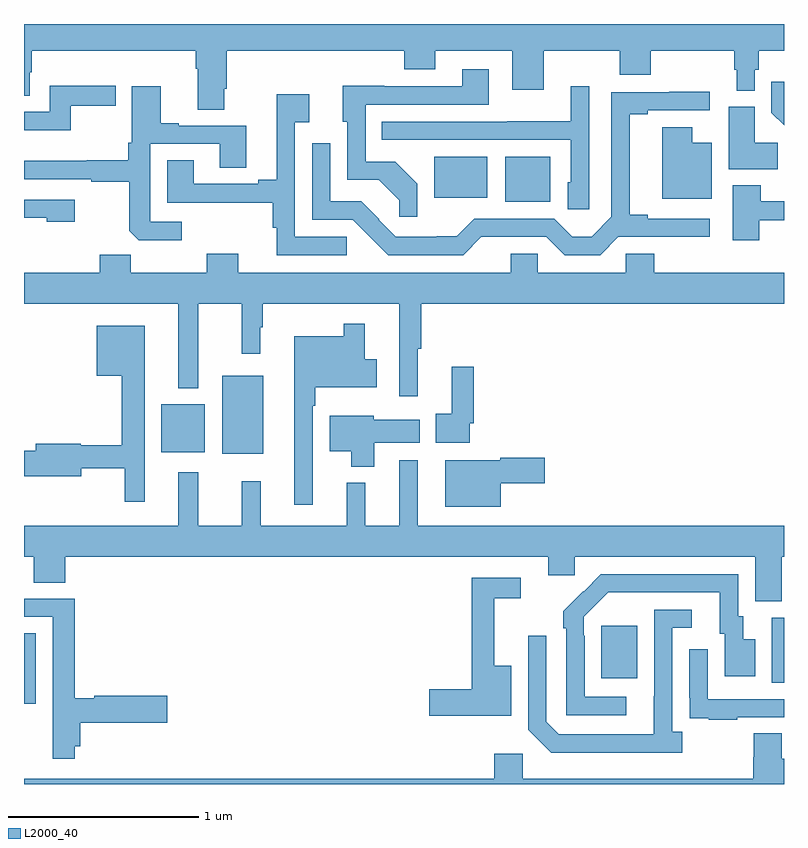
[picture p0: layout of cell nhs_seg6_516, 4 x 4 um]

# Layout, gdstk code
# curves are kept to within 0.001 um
import gdstk
lib = gdstk.Library(unit=1e-6, precision=1e-09)
def R(c, l, rs):  # rectangles x0, y0, x1, y1
    for r in rs: c.add(gdstk.rectangle(r[:2], r[2:], *l))
def P(c, l, *ps):  # polygons
    for p in ps: c.add(gdstk.Polygon(p, *l))
L2000_40 = (2000, 40)

nhs_seg6_516 = lib.new_cell('nhs_seg6_516')
R(nhs_seg6_516, L2000_40, [(143,919.923,143.062,920.293), (146.936,920.032,147,920.376), (146.039,920.057,146.227,920.332), (144.044,921.239,144.259,921.649), (143.723,921.245,143.95,921.499), (145.532,922.565,145.771,922.801), (145.16,922.586,145.438,922.801)])
P(nhs_seg6_516, L2000_40, [(144.055,923.158),(144.068,923.158),(144.068,923.36),(145.001,923.36),(145.001,923.261),(145.165,923.261),(145.165,923.36),(145.571,923.36),(145.571,923.154),(145.735,923.154),(145.735,923.36),(146.135,923.36),(146.135,923.232),(146.299,923.232),(146.299,923.36),(146.739,923.36),(146.739,923.259),(146.75,923.259),(146.75,923.15),(146.847,923.15),(146.847,923.259),(146.867,923.259),(146.867,923.36),(147,923.36),(147,923.5),(143,923.5),(143,923.122),(143.029,923.122),(143.029,923.247),(143.042,923.247),(143.042,923.36),(143.903,923.36),(143.903,923.264),(143.915,923.264),(143.915,923.05),(144.055,923.05)],
  [(145.071,922.66),(144.955,922.776),(144.798,922.776),(144.798,923.076),(145.447,923.076),(145.447,923.263),(145.307,923.263),(145.307,923.172),(144.895,923.172),(144.895,923.174),(144.677,923.174),(144.677,922.986),(144.702,922.986),(144.702,922.68),(144.868,922.68),(144.976,922.572),(144.976,922.485),(145.071,922.485)],
  [(147,923.197),(146.932,923.197),(146.932,923.034),(147,922.966)],
  [(143.245,923.071),(143.482,923.071),(143.482,923.174),(143.136,923.174),(143.136,923.037),(143,923.037),(143,922.94),(143.245,922.94)],
  [(143.83,922.458),(143.664,922.458),(143.664,922.869),(144.029,922.869),(144.029,922.744),(144.169,922.744),(144.169,922.965),(143.815,922.965),(143.815,922.978),(143.719,922.978),(143.719,923.173),(143.568,923.173),(143.568,922.876),(143.548,922.876),(143.548,922.784),(143.329,922.784),(143.329,922.78),(143,922.78),(143,922.683),(143.353,922.683),(143.353,922.671),(143.553,922.671),(143.553,922.413),(143.605,922.362),(143.83,922.362)],
  [(145.974,923.173),(145.877,923.173),(145.877,922.987),(145.543,922.987),(145.543,922.986),(144.883,922.986),(144.883,922.89),(145.878,922.89),(145.878,922.668),(145.862,922.668),(145.862,922.525),(145.974,922.525)],
  [(145.406,922.379),(145.749,922.38),(145.845,922.284),(146.032,922.284),(146.128,922.38),(146.608,922.379),(146.608,922.476),(146.284,922.476),(146.284,922.496),(146.188,922.496),(146.188,923.026),(146.284,923.026),(146.284,923.046),(146.608,923.046),(146.608,923.144),(146.395,923.144),(146.395,923.142),(146.091,923.142),(146.091,922.485),(145.987,922.381),(145.886,922.381),(145.791,922.476),(145.371,922.476),(145.277,922.382),(145.172,922.382),(145.172,922.38),(144.957,922.38),(144.867,922.47),(144.869,922.472),(144.775,922.566),(144.612,922.566),(144.612,922.873),(144.516,922.873),(144.516,922.47),(144.729,922.47),(144.917,922.284),(145.311,922.284)],
  [(144.699,922.38),(144.426,922.38),(144.426,922.982),(144.502,922.982),(144.502,923.131),(144.329,923.131),(144.329,922.679),(144.233,922.679),(144.233,922.659),(143.893,922.659),(143.893,922.784),(143.753,922.784),(143.753,922.558),(144.31,922.558),(144.31,922.427),(144.329,922.427),(144.329,922.284),(144.699,922.284)],
  [(146.966,922.874),(146.845,922.874),(146.845,923.065),(146.708,923.065),(146.708,922.736),(146.966,922.736)],
  [(146.62,922.876),(146.518,922.876),(146.518,922.957),(146.36,922.957),(146.36,922.58),(146.62,922.58)],
  [(146.869,922.467),(147,922.467),(147,922.567),(146.877,922.567),(146.877,922.651),(146.729,922.651),(146.729,922.362),(146.869,922.362)],
  [(143.266,922.575),(143,922.575),(143,922.479),(143.121,922.479),(143.121,922.46),(143.266,922.46)],
  [(144.127,922.291),(143.963,922.291),(143.963,922.192),(143.563,922.192),(143.563,922.285),(143.399,922.285),(143.399,922.192),(143,922.192),(143,922.028),(143.813,922.028),(143.813,921.584),(143.917,921.584),(143.917,922.028),(144.145,922.028),(144.145,921.765),(144.244,921.765),(144.244,921.905),(144.256,921.905),(144.256,922.028),(144.974,922.028),(144.974,921.823),(144.975,921.823),(144.975,921.54),(145.073,921.54),(145.073,921.792),(145.091,921.792),(145.091,922.028),(147,922.028),(147,922.192),(146.318,922.192),(146.318,922.29),(146.166,922.29),(146.166,922.192),(145.704,922.192),(145.704,922.29),(145.562,922.29),(145.562,922.192),(144.127,922.192)],
  [(144.519,921.491),(144.532,921.491),(144.532,921.587),(144.856,921.587),(144.856,921.735),(144.794,921.735),(144.794,921.922),(144.684,921.922),(144.684,921.856),(144.422,921.856),(144.422,920.97),(144.519,920.97)],
  [(143.635,921.913),(143.384,921.913),(143.384,921.65),(143.514,921.65),(143.514,921.283),(143.298,921.283),(143.298,921.29),(143.063,921.29),(143.063,921.254),(143,921.254),(143,921.119),(143.302,921.119),(143.302,921.162),(143.531,921.162),(143.531,920.985),(143.635,920.985)],
  [(145.347,921.4),(145.367,921.4),(145.367,921.697),(145.25,921.697),(145.25,921.449),(145.168,921.449),(145.168,921.296),(145.347,921.296)],
  [(144.844,921.296),(145.083,921.296),(145.083,921.418),(144.84,921.418),(144.84,921.439),(144.608,921.439),(144.608,921.251),(144.722,921.251),(144.722,921.17),(144.844,921.17)],
  [(145.51,921.083),(145.741,921.083),(145.741,921.218),(145.506,921.218),(145.506,921.205),(145.217,921.205),(145.217,920.96),(145.51,920.96)],
  [(146.989,920.696),(147,920.696),(147,920.86),(145.072,920.86),(145.072,921.205),(144.974,921.205),(144.974,920.86),(144.797,920.86),(144.797,921.085),(144.698,921.085),(144.698,920.86),(144.245,920.86),(144.245,921.094),(144.145,921.094),(144.145,920.86),(143.917,920.86),(143.917,921.142),(143.813,921.142),(143.813,920.86),(143,920.86),(143,920.696),(143.051,920.696),(143.051,920.56),(143.216,920.56),(143.216,920.696),(145.76,920.696),(145.76,920.598),(145.899,920.598),(145.899,920.696),(146.849,920.696),(146.849,920.461),(146.989,920.461)],
  [(146.17,919.959),(145.95,919.959),(145.95,920.279),(145.947,920.279),(145.947,920.379),(146.076,920.508),(146.663,920.508),(146.663,920.292),(146.687,920.292),(146.687,920.067),(146.848,920.067),(146.848,920.263),(146.785,920.263),(146.785,920.382),(146.76,920.382),(146.76,920.604),(146.036,920.604),(145.839,920.409),(145.839,920.321),(145.854,920.321),(145.854,919.863),(146.17,919.863)],
  [(145.564,920.122),(145.475,920.122),(145.475,920.478),(145.615,920.478),(145.615,920.586),(145.357,920.586),(145.357,920),(145.134,920),(145.134,919.858),(145.564,919.858)],
  [(143.267,919.7),(143.297,919.7),(143.297,919.822),(143.755,919.822),(143.755,919.964),(143.37,919.964),(143.37,919.952),(143.267,919.952),(143.267,920.475),(143,920.475),(143,920.379),(143.151,920.379),(143.151,919.632),(143.267,919.632)],
  [(146.464,919.774),(146.412,919.774),(146.412,920.322),(146.515,920.322),(146.515,920.418),(146.316,920.418),(146.315,919.761),(145.815,919.761),(145.749,919.827),(145.749,920.281),(145.653,920.281),(145.653,919.785),(145.774,919.664),(146.464,919.664)],
  [(146.753,919.851),(147,919.851),(147,919.947),(146.598,919.947),(146.598,920.209),(146.502,920.209),(146.502,919.954),(146.503,919.954),(146.503,919.845),(146.605,919.845),(146.605,919.839),(146.753,919.839)],
  [(147,919.634),(146.989,919.634),(146.989,919.766),(146.842,919.766),(146.842,919.641),(146.837,919.641),(146.837,919.528),(145.626,919.528),(145.626,919.66),(145.475,919.66),(145.475,919.528),(143,919.528),(143,919.5),(147,919.5)])

lib.write_gds('nhs_seg6_516.gds')
